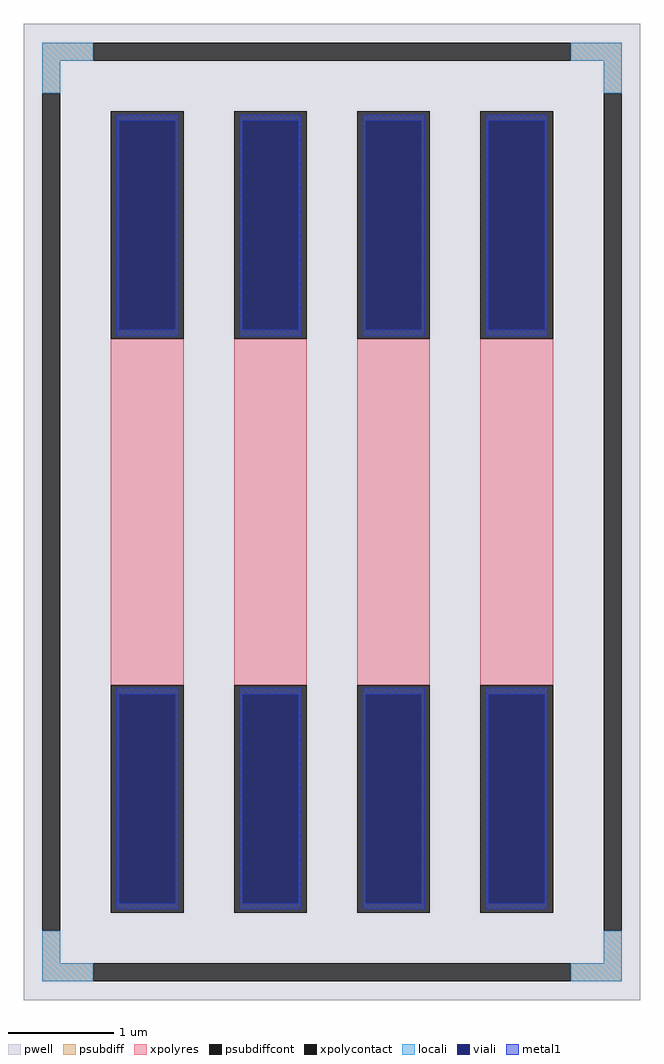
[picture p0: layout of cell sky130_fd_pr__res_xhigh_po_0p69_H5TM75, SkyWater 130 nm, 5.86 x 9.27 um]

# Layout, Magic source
magic
tech sky130A
magscale 1 2
<< pwell >>
rect -586 -927 586 927
<< psubdiff >>
rect -550 857 -454 891
rect 454 857 550 891
rect -550 795 -516 857
rect 516 795 550 857
rect -550 -857 -516 -795
rect 516 -857 550 -795
rect -550 -891 -454 -857
rect 454 -891 550 -857
<< psubdiffcont >>
rect -454 857 454 891
rect -550 -795 -516 795
rect 516 -795 550 795
rect -454 -891 454 -857
<< xpolycontact >>
rect -420 329 -282 761
rect -420 -761 -282 -329
rect -186 329 -48 761
rect -186 -761 -48 -329
rect 48 329 186 761
rect 48 -761 186 -329
rect 282 329 420 761
rect 282 -761 420 -329
<< xpolyres >>
rect -420 -329 -282 329
rect -186 -329 -48 329
rect 48 -329 186 329
rect 282 -329 420 329
<< locali >>
rect -550 857 -454 891
rect 454 857 550 891
rect -550 795 -516 857
rect 516 795 550 857
rect -550 -857 -516 -795
rect 516 -857 550 -795
rect -550 -891 -454 -857
rect 454 -891 550 -857
<< viali >>
rect -404 346 -298 743
rect -170 346 -64 743
rect 64 346 170 743
rect 298 346 404 743
rect -404 -743 -298 -346
rect -170 -743 -64 -346
rect 64 -743 170 -346
rect 298 -743 404 -346
<< metal1 >>
rect -410 743 -292 755
rect -410 346 -404 743
rect -298 346 -292 743
rect -410 334 -292 346
rect -176 743 -58 755
rect -176 346 -170 743
rect -64 346 -58 743
rect -176 334 -58 346
rect 58 743 176 755
rect 58 346 64 743
rect 170 346 176 743
rect 58 334 176 346
rect 292 743 410 755
rect 292 346 298 743
rect 404 346 410 743
rect 292 334 410 346
rect -410 -346 -292 -334
rect -410 -743 -404 -346
rect -298 -743 -292 -346
rect -410 -755 -292 -743
rect -176 -346 -58 -334
rect -176 -743 -170 -346
rect -64 -743 -58 -346
rect -176 -755 -58 -743
rect 58 -346 176 -334
rect 58 -743 64 -346
rect 170 -743 176 -346
rect 58 -755 176 -743
rect 292 -346 410 -334
rect 292 -743 298 -346
rect 404 -743 410 -346
rect 292 -755 410 -743
<< properties >>
string FIXED_BBOX -533 -874 533 874
string gencell sky130_fd_pr__res_xhigh_po_0p69
string library sky130
string parameters w 0.690 l 3.45 m 1 nx 4 wmin 0.690 lmin 0.50 rho 2000 val 10.545k dummy 0 dw 0.0 term 188.2 sterm 0.0 caplen 0 wmax 0.690 guard 1 glc 1 grc 1 gtc 1 gbc 1 compatible {sky130_fd_pr__res_xhigh_po_0p35  sky130_fd_pr__res_xhigh_po_0p69 sky130_fd_pr__res_xhigh_po_1p41  sky130_fd_pr__res_xhigh_po_2p85 sky130_fd_pr__res_xhigh_po_5p73} snake 0 full_metal 1 n_guard 0 hv_guard 0 vias 1 viagb 0 viagt 0 viagl 0 viagr 0
<< end >>
